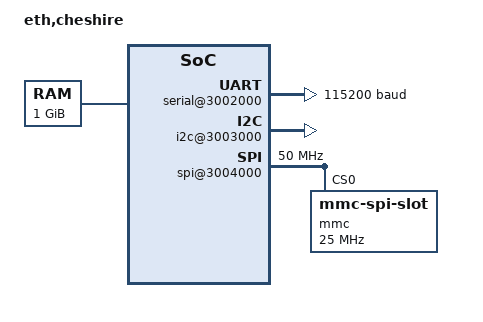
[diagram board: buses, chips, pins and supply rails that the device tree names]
// Copyright 2022 ETH Zurich and University of Bologna.
// Solderpad Hardware License, Version 0.51, see LICENSE for details.
// SPDX-License-Identifier: SHL-0.51
//
// Nicole Narr <narrn@student.ethz.ch>
// Christopher Reinwardt <creinwar@student.ethz.ch>
// Axel Vanoni <axvanoni@student.ethz.ch>

/dts-v1/;
/ {
  #address-cells = <2>;
  #size-cells = <2>;
  compatible = "eth,cheshire-dev";
  model = "eth,cheshire";
  chosen {
    console = "/soc/serial@3002000";
    stdout-path = "/soc/serial@3002000:115200";
    linux,initrd-start = <0x84000000>;
    linux,initrd-end = <0x85600000>;
  };
  memory@80000000 {
    device_type = "memory";
    reg = <0x0 0x80000000 0x0 0x40000000>;
  };
  cpus {
    #address-cells = <1>;
    #size-cells = <0>;
    timebase-frequency = <1000000>; // 1 MHz
    CPU0: cpu@0 {
      device_type = "cpu";
      status = "okay";
      compatible = "eth,cheshire", "riscv";
      clock-frequency = <50000000>; // 50 MHz
      riscv,isa = "rv64imafdch";
      mmu-type = "riscv,sv39";
      tlb-split;
      reg = <0>;
      CPU0_intc: interrupt-controller {
        #address-cells = <0>;
        #interrupt-cells = <1>;
        interrupt-controller;
        compatible = "riscv,cpu-intc";
      };
    };
  };
  soc: soc {
    #address-cells = <2>;
    #size-cells = <2>;
    compatible = "eth,cheshire-bare-soc", "simple-bus";
    ranges;
    debug@0 {
      compatible = "riscv,debug-013";
      reg-names = "control";
      reg = <0x0 0x0 0x0 0x1000>;
    };
    axi_llc@3001000 {
      compatible = "eth,axi-llc";
      reg = <0x0 0x3001000 0x0 0x5000>;
    };
    ddr_link: memory-controller@3006000 {
      compatible = "eth,ddr-link";
      reg = <0x0 0x3006000 0x0 0x1000>;
    };
    serial@3002000 {
      compatible = "ns16550a";
      clock-frequency = <50000000>; // 50 MHz
      current-speed = <115200>;
      interrupt-parent = <&PLIC0>;
      interrupts = <1>;
      reg = <0x0 0x3002000 0x0 0x1000>;
      reg-shift = <2>; // regs are spaced on 32 bit boundary
      reg-io-width = <4>; // only 32-bit access are supported
    };
    i2c@3003000 {
      compatible = "eth,i2c";
      interrupt-parent = <&PLIC0>;
      interrupts = <2 3 4 5 6 7 8 9 10 11 12 13 14 15 16>;
      reg = <0x0 0x3003000 0x0 0x1000>;
    };
    spi@3004000 {
      compatible = "opentitan,spi-host", "lowrisc,spi";
      interrupt-parent = <&PLIC0>;
      interrupts = <17 18>;
      reg = <0x0 0x3004000 0x0 0x1000>;
      clock-frequency = <50000000>;
      max-frequency = <25000000>;
      #address-cells = <1>;
      #size-cells = <0>;
      mmc@0 {
        compatible = "mmc-spi-slot";
        reg = <0>;
        spi-max-frequency = <25000000>;
        voltage-ranges = <3300 3300>;
        disable-wp;
      };
    };
    vga@3007000 {
      compatible = "eth,axi-vga";
      reg = <0x0 0x3007000 0x0 0x1000>;
    };
    clint@2040000 {
      compatible = "riscv,clint0";
      interrupts-extended = <&CPU0_intc 3 &CPU0_intc 7>;
      reg-names = "control";
      reg = <0x0 0x2040000 0x0 0x040000>;
    };
    PLIC0: interrupt-controller@4000000 {
      compatible = "riscv,plic0";
      #address-cells = <0>;
      #interrupt-cells = <1>;
      interrupt-controller;
      interrupts-extended = <&CPU0_intc 11 &CPU0_intc 9>;
      riscv,max-priority = <7>;
      riscv,ndev = <51>;
      reg = <0x0 0x4000000 0x0 0x4000000>;
    };
  };
};
